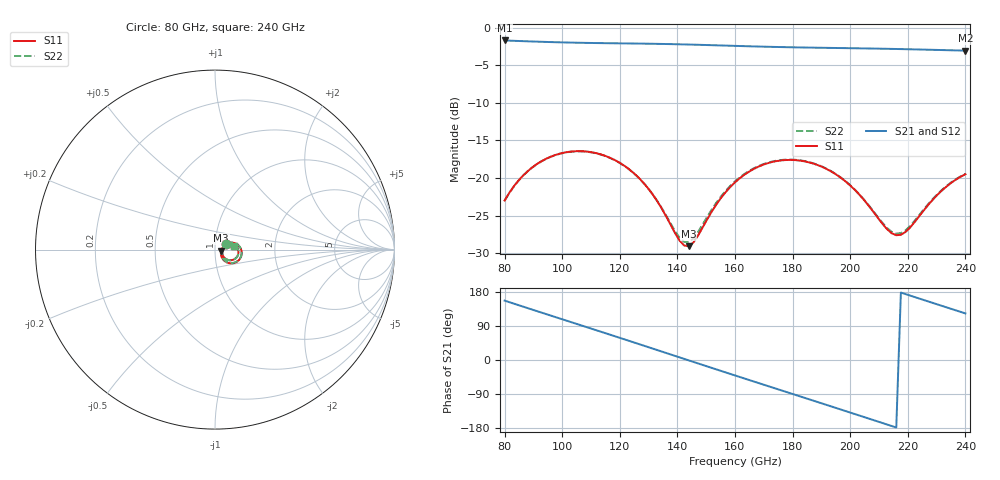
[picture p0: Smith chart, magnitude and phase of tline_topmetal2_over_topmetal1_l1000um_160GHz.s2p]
#  GHZ S DB R 50
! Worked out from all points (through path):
!   101 points, 80 GHz to 240 GHz, reference 50 ohm
!   highest |S21| = -1.72 dB at 80 GHz (marker M1); lowest = -3.1 dB at 240 GHz (marker M2)
!   group delay of S21, straight-line fit = 6.84 ps
!   lowest |S11| = -29.1 dB at 144 GHz (marker M3), VSWR 1.07, Z = 53.6 - j0.553 ohm
!   |S11| at or under -10 dB: start of sweep to end of sweep
!   |S22| runs from -28.5 to -16.5 dB; largest |S21 - S12| = 9.2e-14
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80  -23.00 27.2  -1.72 156.7  -1.72 156.7  -23.03 27.6
86.4  -19.68 21.8  -1.81 140.9  -1.81 140.9  -19.71 22.2
94.4  -17.45 9.1  -1.92 121.2  -1.92 121.2  -17.47 9.6
100.8  -16.62 -2.4  -1.98 105.6  -1.98 105.6  -16.64 -1.8
107.2  -16.45 -14.3  -2.03 89.9  -2.03 89.9  -16.47 -13.6
113.6  -16.89 -26.0  -2.07 74.2  -2.07 74.2  -16.91 -25.2
120  -17.99 -37.0  -2.10 58.5  -2.10 58.5  -18.01 -36.0
128  -20.55 -48.1  -2.14 38.7  -2.14 38.7  -20.56 -46.6
134.4  -23.96 -50.1  -2.18 22.7  -2.18 22.7  -23.90 -47.9
140.8  -28.35 -31.1  -2.23 6.8  -2.23 6.8  -27.97 -28.5
144  -29.07 -8.4  -2.26 -1.2  -2.26 -1.2  -28.52 -7.3
152  -24.42 23.1  -2.35 -21.0  -2.35 -21.0  -24.15 22.1
160  -20.58 20.2  -2.44 -40.7  -2.44 -40.7  -20.45 19.4
168  -18.52 9.1  -2.53 -60.4  -2.53 -60.4  -18.45 8.6
174.4  -17.76 -1.5  -2.58 -76.0  -2.58 -76.0  -17.70 -1.8
187.2  -18.09 -22.9  -2.68 -107.3  -2.68 -107.3  -18.05 -23.0
193.6  -19.18 -32.4  -2.71 -123.0  -2.71 -123.0  -19.14 -32.3
201.6  -21.58 -40.4  -2.76 -142.6  -2.76 -142.6  -21.54 -40.1
214.4  -27.35 -20.7  -2.84 -174.2  -2.84 -174.2  -27.16 -20.2
219.2  -27.19 2.3  -2.88 174.0  -2.88 174.0  -26.97 2.1
227.2  -23.54 19.4  -2.95 154.3  -2.95 154.3  -23.42 18.7
240  -19.51 10.1  -3.07 122.9  -3.07 122.9  -19.46 9.6
